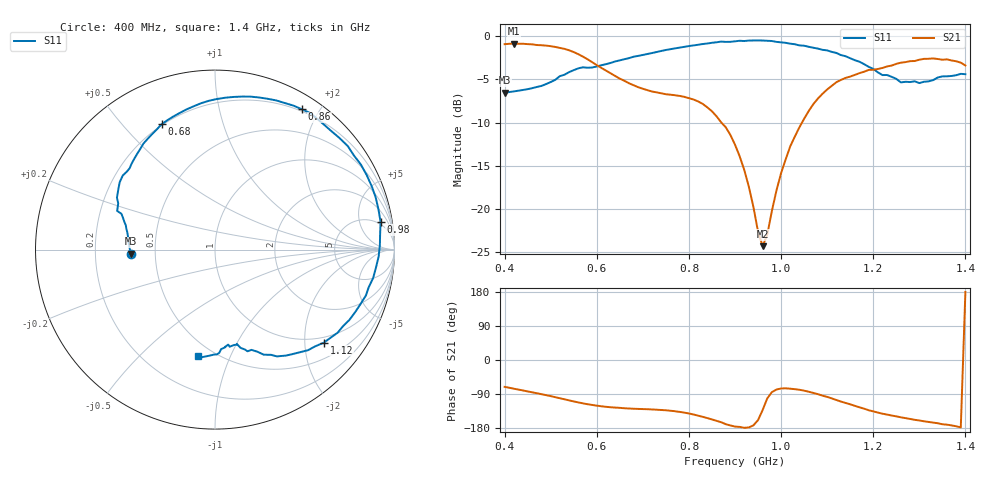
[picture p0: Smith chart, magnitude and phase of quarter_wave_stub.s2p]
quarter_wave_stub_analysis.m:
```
%%%%%%%%%%%%%%%%%%%%%%%%%%%%%%%%%%%%%%%%%%%%%%%%%%%%%%%%%%%%
% MATLAB Code for Analyzing a Quarter-Wave Stub
% (with an .s2p file exported from the NanoVNA)
%%%%%%%%%%%%%%%%%%%%%%%%%%%%%%%%%%%%%%%%%%%%%%%%%%%%%%%%%%%%

% --- 1) Load S-parameter Data ---
% (Requires RF Toolbox in MATLAB)
filename = 'quarter_wave_stub.s2p';
sparamObj = sparameters(filename);

% Retrieve the frequency axis (in Hz):
freq = sparamObj.Frequencies;  % vector of frequencies
% Convert frequency to GHz for easier plotting/interpretation:
freqGHz = freq/1e9;

% S-parameters are in a 2x2xN matrix: sparamObj.Parameters(port_i, port_j, frequency_index).
% For a stub you mainly need S11, but we can also analyze S21 if measured.
S11 = squeeze(sparamObj.Parameters(1,1,:));  % S11 vs. frequency
S21 = squeeze(sparamObj.Parameters(2,1,:));  % S21 vs. frequency (if relevant)

% Characteristic system impedance (often 50 ohms)
Z0 = 50;

% --- 2) Compute Magnitude, Phase, and Impedance ---
% Reflection coefficient magnitude in dB:
S11_dB    = 20*log10(abs(S11));
% Reflection coefficient phase in degrees:
S11_phase = rad2deg(angle(S11));

% Transmission coefficient magnitude (if needed for quarter-wave stub analysis):
S21_dB    = 20*log10(abs(S21));
S21_phase = rad2deg(angle(S21));

% Input impedance seen at the port, derived from S11:
%   Z_in = Z0 * (1 + S11) / (1 - S11)
Z_in = Z0 * (1 + S11) ./ (1 - S11);

% --- 3) Plot S11 in dB over Frequency ---
figure('Name','S11 (dB) vs Frequency');
plot(freqGHz, S11_dB, 'LineWidth',1.5);
grid on; xlabel('Frequency (GHz)'); ylabel('S11 (dB)');
title('Quarter-Wave Stub: Reflection Coefficient (dB)');

% --- 4) Plot Phase of S11 ---
figure('Name','S11 Phase vs Frequency');
plot(freqGHz, S11_phase, 'LineWidth',1.5);
grid on; xlabel('Frequency (GHz)'); ylabel('Phase (degrees)');
title('Quarter-Wave Stub: S11 Phase');

% --- 5) Plot Input Impedance (Real and Imag) ---
figure('Name','Input Impedance vs Frequency');
plot(freqGHz, real(Z_in), 'LineWidth',1.5); hold on;
plot(freqGHz, imag(Z_in), 'LineWidth',1.5);
grid on; xlabel('Frequency (GHz)'); 
ylabel('Z_{in} (\Omega)');
title('Quarter-Wave Stub: Input Impedance');
legend('Real(Z_{in})','Imag(Z_{in})','Location','best');

% --- 6) Plot S21 (if desired) ---
figure('Name','S21 (dB) vs Frequency');
plot(freqGHz, S21_dB, 'LineWidth',1.5);
grid on; xlabel('Frequency (GHz)'); ylabel('S21 (dB)');
title('Quarter-Wave Stub: Transmission (dB)');

% --- 7) Print data at 1 GHz or any specific frequency of interest ---
targetFreq = 1e9;  % 1 GHz
[~, idx] = min(abs(freq - targetFreq));  % find closest frequency index

fprintf('\n=== Quarter-Wave Stub Data at %.3f GHz ===\n', freq(idx)/1e9);
fprintf('S11 Magnitude (linear) : %.4f\n', abs(S11(idx)));
fprintf('S11 Magnitude (dB)     : %.2f dB\n', 20*log10(abs(S11(idx))));
fprintf('S11 Phase (degrees)    : %.2f deg\n', rad2deg(angle(S11(idx))));
fprintf('Input Impedance (Z_in) : %.2f + j%.2f Ohms\n',...
         real(Z_in(idx)), imag(Z_in(idx)));
fprintf('S21 Magnitude (dB)     : %.2f dB\n', S21_dB(idx));
fprintf('S21 Phase (degrees)    : %.2f deg\n\n', S21_phase(idx));

% If you want a Smith Chart, you can also do:
figure('Name','Smith Chart of S11');
smith(sparamObj,1,1);  % Plot the S11 reflection data on a Smith chart
title('Quarter-Wave Stub: Smith Chart (S11)');

%%%%%%%%%%%%%%%%%%%%%%%%%%%%%%%%%%%%%%%%%%%%%%%%%%%%%%%%%%%%
```
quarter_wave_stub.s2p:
# HZ S RI R 50
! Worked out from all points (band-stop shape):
!   101 points, 400 MHz to 1.4 GHz, reference 50 ohm
!   highest |S21| = -0.88 dB at 420 MHz (marker M1); lowest = -24.3 dB at 960 MHz (marker M2)
!   |S21| within 3 dB of the highest: start of sweep to 616.2 MHz; 1.203 GHz to end of sweep
!   lowest |S11| = -6.6 dB at 400 MHz (marker M3), VSWR 2.77, Z = 18 - j1.04 ohm
!   |S11| at or under -10 dB: nowhere
!   S12 and S22 are empty: the file has one direction only
!   S11 on the Smith chart (normalised r, x): 400 MHz: 0.36, -0.02; 680 MHz: 0.20, +0.64; 860 MHz: 0.18, +1.78; 980 MHz: 4, +10; 1.12 GHz: 0.86, -2.45; 1.4 GHz: 0.41, -0.77
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4e8  -0.4697 -0.0224  0.2934 -0.847  0 0  0 0
4.2e8  -0.478 0.0207  0.2229 -0.8758  0 0  0 0
5.6e8  -0.5309 0.3755  -0.2935 -0.7277  0 0  0 0
6.8e8  -0.2979 0.6981  -0.3238 -0.4059  0 0  0 0
8.6e8  0.4837 0.782  -0.3239 -0.1143  0 0  0 0
9e8  0.6916 0.6235  -0.235 -0.0177  0 0  0 0
9.6e8  0.8954 0.2902  -0.0408 -0.0454  0 0  0 0
9.8e8  0.9226 0.1538  0.0087 -0.097  0 0  0 0
1.12e9  0.6064 -0.5185  -0.1454 -0.5207  0 0  0 0
1.26e9  0.1218 -0.5254  -0.6146 -0.337  0 0  0 0
1.4e9  -0.0941 -0.5941  -0.6753 0.00426  0 0  0 0
